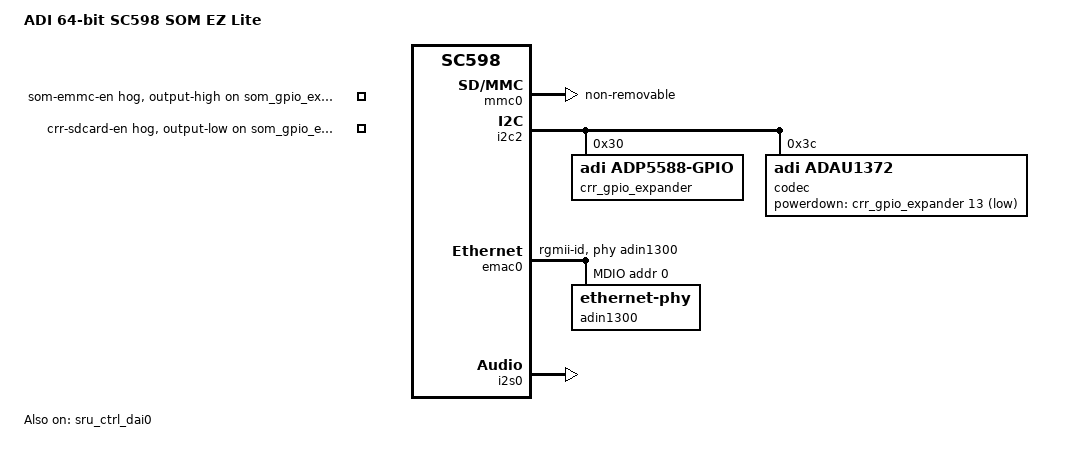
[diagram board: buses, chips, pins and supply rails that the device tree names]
/*
 * Copyright (c) 2021 Analog Devices Incorporated
 * Author: Nathan Barrett-Morrison <nathan.morrison@timesys.com>
 */

/dts-v1/;

#include "sc598-som-revE.dtsi"

/ {
	model = "ADI 64-bit SC598 SOM EZ Lite";
	compatible = "adi,sc598-som-ezlite", "adi,sc59x-64";

	sound {
		compatible = "simple-audio-card";
		simple-audio-card,format = "dsp_a";
		simple-audio-card,widgets = "Microphone", "AIN0",
					    "Microphone", "AIN1",
					    "Microphone", "AIN2",
					    "Microphone", "AIN3",
					    "Headphone", "STEREO OUT";
		simple-audio-card,routing = "STEREO OUT", "CODEC HPOUTL",
					    "STEREO OUT", "CODEC HPOUTR",
					    "CODEC AIN0", "AIN0",
					    "CODEC AIN1", "AIN1",
					    "CODEC AIN2", "AIN2",
					    "CODEC AIN3", "AIN3";

		simple-audio-card,cpu {
			sound-dai = <&i2s0>;
		};

		simple-audio-card,codec {
			sound-dai = <&codec>;
			frame-master;
			bitclock-master;
			dai-tdm-slot-num = <8>;
			dai-tdm-slot-width = <32>;
		};
	};
};

&som_gpio_expander {
	som-emmc {
		gpio-hog;
		gpios = <8 GPIO_ACTIVE_LOW>;
		output-high;
		line-name = "som-emmc-en";
	};

	crr-sdcard {
		gpio-hog;
		gpios = <9 GPIO_ACTIVE_LOW>;
		output-low;
		line-name = "crr-sdcard-en";
	};
};

&mmc0 {
	non-removable;

	status = "okay";
};

&i2c2 {
	crr_gpio_expander: gpio@30 {
		compatible = "adi,adp5588-gpio";
		gpio-controller;
		#gpio-cells = <2>;
		reg = <0x30>;
		status = "okay";

		usb-spi0 {
			gpio-hog;
			gpios = <8 GPIO_ACTIVE_LOW>;
			output-low;
			line-name = "usb_spi0_en";
		};

		usb-spi1 {
			gpio-hog;
			gpios = <9 GPIO_ACTIVE_LOW>;
			output-low;
			line-name = "usb_spi1_en";
		};

		usb-qspi-en {
			gpio-hog;
			gpios = <10 GPIO_ACTIVE_LOW>;
			output-low;
			line-name = "usb_qspi_en";
		};

		usb-qspi-reset {
			gpio-hog;
			gpios = <11 GPIO_ACTIVE_LOW>;
			output-high;
			line-name = "usb_qspi_reset";
		};

		eth0-reset {
			gpio-hog;
			gpios = <12 GPIO_ACTIVE_LOW>;
			output-low;
			line-name = "eth0-reset";
		};

		led1 {
			gpio-hog;
			gpios = <15 GPIO_ACTIVE_LOW>;
			output-high;
			line-name = "led1-en";
		};

		led2 {
			gpio-hog;
			gpios = <16 GPIO_ACTIVE_LOW>;
			output-high;
			line-name = "led2-en";
		};

		led3 {
			gpio-hog;
			gpios = <17 GPIO_ACTIVE_LOW>;
			output-high;
			line-name = "led3-en";
		};
	};

	codec: audio-codec@3c {
		compatible = "adi,adau1372";
		reg = <0x3c>;
		clock-names = "mclk";
		clocks = <&audio_clk>;
		powerdown-gpios = <&crr_gpio_expander 13 GPIO_ACTIVE_LOW>;
		#sound-dai-cells = <0>;
		sound-name-prefix = "CODEC";
	};
};

&emac0 {
	snps,reset-active-low;
	snps,reset-delays-us = <0 200 500>;
	phy-handle = <&adin1300>;
	phy-mode = "rgmii-id";
	pinctrl-names = "default";
	pinctrl-0 = <&eth0_default>;
	status = "okay";
	snps,mtl-rx-config = <&emac0rxconfig>;
	snps,mtl-tx-config = <&emac0txconfig>;

	emac0txconfig: tx-config {
		snps,tx-queues-to-use = <3>;

		queue0 {
			snps,dcb-algorithm;
		};

		queue1 {
			snps,dcb-algorithm;
		};

		queue2 {
			snps,dcb-algorithm;
		};
	};

	emac0rxconfig: rx-config {
		snps,rx-queues-to-use = <1>;

		queue0 {
			snps,dcb-algorithm;
		};

		queue1 {
			snps,dcb-algorithm;
		};

		queue2 {
			snps,dcb-algorithm;
		};
	};

	mdio {
		compatible = "snps,dwmac-mdio";
		#address-cells = <1>;
		#size-cells = <0>;
		adin1300: ethernet-phy@0 {
			reg = <0>;
		};
	};

};

&emac1 {
	status = "disabled";
};

&sru_ctrl_dai0 {
	status = "okay";

	sru_dai0: sru_dai0_mux {
		route {
			sru-routing =
				/* 1362 TX LRCLK */
				<DAI0_LOW_F           DAI0_PBEN01_I>,  /* set DAI0_PIN01 to input */
				<DAI0_PB01_O_ABCDE    SPT0_AFS_I>,     /* route DAI0_PIN01 to SPT0_AFS */

				/* 1363 TX BCLK */
				<DAI0_LOW_F           DAI0_PBEN02_I>,  /* set DAI0_PIN02 to input */
				<DAI0_PB02_O_ABCDE    SPT0_ACLK_I>,    /* route DAI0_PIN02 to SPT0_ACLK */

				/* 1363 TX DAC_SDATA/MP0 */
				<DAI0_HIGH_F          DAI0_PBEN03_I>,  /* set DAI0_PIN03 to output */
				<SPT0_AD0_O_BD        DAI0_PB03_I>,    /* route SPT0_AD0 to DAI0_PIN03 */

				/* 1362 RX LRCLK */
				<DAI0_LOW_F           DAI0_PBEN01_I>,  /* set DAI0_PIN01 to input */
				<DAI0_PB01_O_ABCDE    SPT0_BFS_I>,     /* route DAI0_PIN01 to SPT0_BFS */

				/* 1363 RX BCLK */
				<DAI0_LOW_F           DAI0_PBEN02_I>,  /* set DAI0_PIN02 to input */
				<DAI0_PB02_O_ABCDE    SPT0_BCLK_I>,    /* route DAI0_PIN02 to SPT0_BCLK */

				/* 1363 RX ADC_SDATA0/MP1 */
				<DAI0_LOW_F           DAI0_PBEN04_I>,  /* set DAI0_PIN04 to input */
				<DAI0_PB04_O_ABCDE    SPT0_BD0_I>,     /* route DAI0_PIN04 to SPT0_BD0 */

				/* 1363 RX ADC_SDATA1/MP6 */
				<DAI0_LOW_F           DAI0_PBEN05_I>,  /* set DAI0_PIN05 to input */
				<DAI0_PB05_O_ABCDE    SPT0_BD1_I>;     /* route DAI0_PIN05 to SPT0_BD1 */
		};
	};
};

&i2s0 {
	pinctrl-names = "default";
	pinctrl-0 = <&sru_dai0>;
	status = "okay";
};
